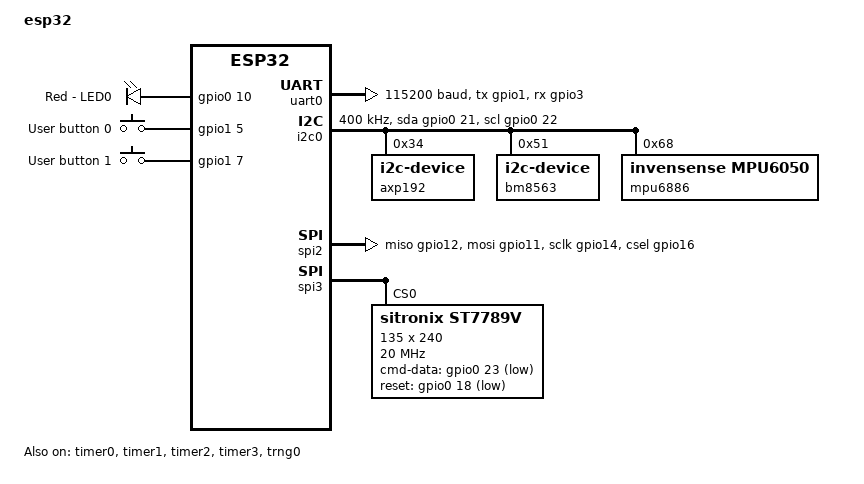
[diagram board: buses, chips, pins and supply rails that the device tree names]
/*
 * Copyright (c) 2022 AVSystem Sławomir Wolf Sp.j. (AVSystem)
 *
 * SPDX-License-Identifier: Apache-2.0
 */
/dts-v1/;

#include <espressif/esp32.dtsi>
#include "m5stickc_plus-pinctrl.dtsi"

/ {
	model = "esp32";
	compatible = "espressif,esp32";

	aliases {
		led0 = &red_led;
		sw0 = &user_button_0;
		sw1 = &user_button_1;
		uart-0 = &uart0;
		i2c-0 = &i2c0;
		watchdog0 = &wdt0;
		accel-0 = &mpu6886;
	};

	chosen {
		zephyr,sram = &sram0;
		zephyr,console = &uart0;
		zephyr,shell-uart = &uart0;
		zephyr,flash = &flash0;
		zephyr,display = &st7789v;
	};

	leds {
		compatible = "gpio-leds";

		red_led: led_0 {
			gpios =  <&gpio0 10 GPIO_ACTIVE_HIGH>;
			label = "Red - LED0";
		};
	};

	gpio_keys {
		compatible = "gpio-keys";

		user_button_0: button_0 {
			label = "User button 0";
			gpios = <&gpio1 5 GPIO_ACTIVE_HIGH>;
		};
		user_button_1: button_1 {
			label = "User button 1";
			gpios = <&gpio1 7 GPIO_ACTIVE_HIGH>;
		};
	};
};

&cpu0 {
	clock-frequency = <ESP32_CLK_CPU_240M>;
};

&cpu1 {
	clock-frequency = <ESP32_CLK_CPU_240M>;
};

&uart0 {
	status = "okay";
	current-speed = <115200>;
	pinctrl-0 = <&uart0_tx_gpio1 &uart0_rx_gpio3>;
	pinctrl-names = "default";
};

&gpio0 {
	status = "okay";
};

&gpio1 {
	status = "okay";
};

/* IMU MPU-6886, RTC BM8563, PMU AXP192 */
&i2c0 {
	status = "okay";
	clock-frequency = <I2C_BITRATE_FAST>;
	sda-gpios = <&gpio0 21 GPIO_OPEN_DRAIN>;
	scl-gpios = <&gpio0 22 GPIO_OPEN_DRAIN>;
	pinctrl-0 = <&i2c0_default>;
	pinctrl-names = "default";

	axp192: axp192@34 {
		compatible = "i2c-device";
		reg = <0x34>;
	};

	bm8563: bm8563@51 {
		compatible = "i2c-device";
		reg = <0x51>;
	};

	mpu6886: mpu6886@68 {
		compatible = "invensense,mpu6050";
		reg = <0x68>;
		status = "okay";
//		int-gpios = <&gpio0 11 GPIO_ACTIVE_HIGH>;
	};
};

&spi2 {
	#address-cells = <1>;
	#size-cells = <0>;
	status = "okay";
	pinctrl-0 = <&spim2_miso_gpio12 &spim2_mosi_gpio11
				&spim2_sclk_gpio14 &spim2_csel_gpio16>;
	pinctrl-names = "default";
};

/* LCD TFT 1.14", 135x240 px, ST7789v2 */
&spi3 {
	#address-cells = <1>;
	#size-cells = <0>;
	status = "okay";
	pinctrl-0 = <&spim3_default>;
	pinctrl-names = "default";
		
	st7789v: st7789v@0 {
		compatible = "sitronix,st7789v";
		reg = <0>;
		spi-max-frequency = <20000000>;
		cmd-data-gpios = <&gpio0 23 GPIO_ACTIVE_LOW>;	/* DET */
		reset-gpios = <&gpio0 18 GPIO_ACTIVE_LOW>;	/* RESX reset */

		width = <135>;
		height = <240>;
		x-offset = <52>;
		y-offset = <40>;
		vcom = <0x28>; // check
		gctrl = <0x35>; //check
		
		vrhs = <0x10>; //check
		vdvs = <0x20>; //check
		mdac = <0x08>; //check
		gamma = <0x01>; // check (use default)
		colmod = <0x55>; //check
		lcm = <0x2c>; // check
		porch-param = [0c 0c 00 33 33]; //check
		cmd2en-param = [5a 69 02 00]; // check (use default)
		pwctrl1-param = [a4 a1]; //check
		pvgam-param = [d0 00 02 07 0a 28 32 44 42 06 0e 12 14 17]; //check
		nvgam-param = [d0 00 02 07 0a 28 31 54 47 0e 1c 17 1b 1e]; //check
		ram-param = [00 F0]; // check (use default)
		rgb-param = [40 02 14]; // check(use default)
	};
	
};

&timer0 {
	status = "okay";
};

&timer1 {
	status = "okay";
};

&timer2 {
	status = "okay";
};

&timer3 {
	status = "okay";
};

&trng0 {
	status = "okay";
};

&flash0 {
	status = "okay";
	partitions {
		compatible = "fixed-partitions";
		#address-cells = <1>;
		#size-cells = <1>;

		/* Reserve 60kB for the bootloader */
		boot_partition: partition@1000 {
			label = "mcuboot";
			reg = <0x00001000 0x0000F000>;
			read-only;
		};

		/* Reserve 1024kB for the application in slot 0 */
		slot0_partition: partition@10000 {
			label = "image-0";
			reg = <0x00010000 0x00100000>;
		};

		/* Reserve 1024kB for the application in slot 1 */
		slot1_partition: partition@110000 {
			label = "image-1";
			reg = <0x00110000 0x00100000>;
		};

		/* Reserve 256kB for the scratch partition */
		scratch_partition: partition@210000 {
			label = "image-scratch";
			reg = <0x00210000 0x00040000>;
		};

		storage_partition: partition@250000 {
			label = "storage";
			reg = <0x00250000 0x00006000>;
		};
	};
};
